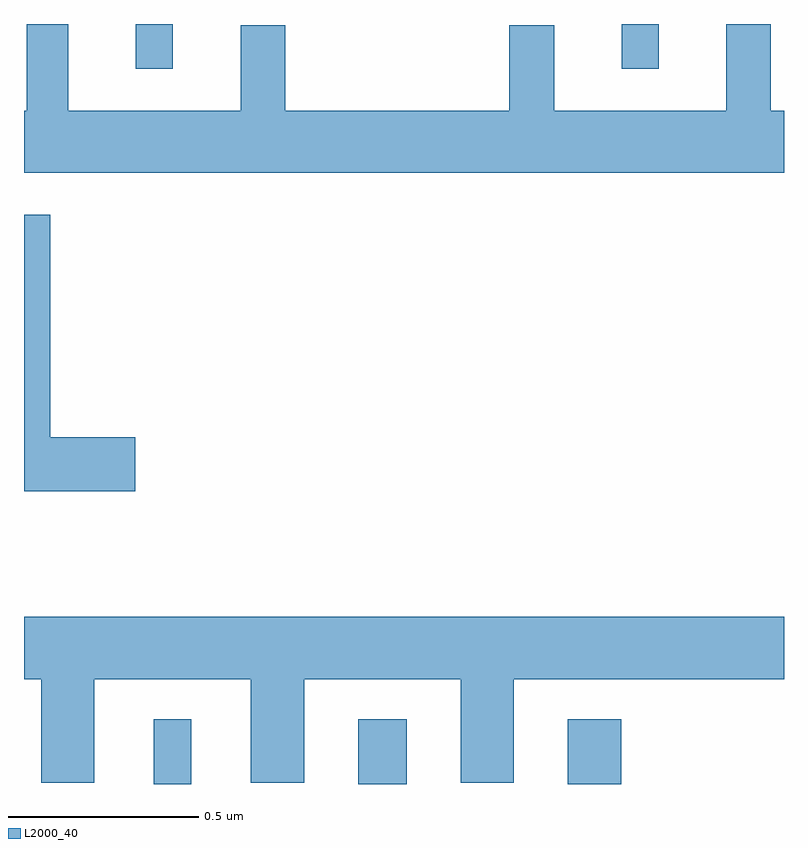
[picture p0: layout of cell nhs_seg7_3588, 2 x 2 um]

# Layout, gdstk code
import gdstk
lib = gdstk.Library(unit=1e-6, precision=1e-09)
def R(c, l, rs):  # rectangles x0, y0, x1, y1
    for r in rs: c.add(gdstk.rectangle(r[:2], r[2:], *l))
def P(c, l, *ps):  # polygons
    for p in ps: c.add(gdstk.Polygon(p, *l))
L2000_40 = (2000, 40)

nhs_seg7_3588 = lib.new_cell('nhs_seg7_3588')
R(nhs_seg7_3588, L2000_40, [(161.342,1007,161.44,1007.17), (161.879,1007,162.007,1007.17), (162.431,1007,162.572,1007.17), (161.294,1008.882,161.391,1009), (162.573,1008.882,162.67,1009)])
P(nhs_seg7_3588, L2000_40, [(163,1008.772),(162.965,1008.772),(162.965,1009),(162.848,1009),(162.848,1008.772),(162.395,1008.772),(162.395,1008.997),(162.277,1008.997),(162.277,1008.772),(161.687,1008.772),(161.687,1008.997),(161.57,1008.997),(161.57,1008.772),(161.117,1008.772),(161.117,1009),(161.007,1009),(161.007,1008.772),(161,1008.772),(161,1008.608),(163,1008.608)],
  [(161.293,1007.912),(161.069,1007.912),(161.069,1008.498),(161,1008.498),(161,1007.77),(161.293,1007.77)],
  [(161.185,1007.276),(161.597,1007.276),(161.597,1007.003),(161.737,1007.003),(161.737,1007.276),(162.149,1007.276),(162.149,1007.003),(162.289,1007.003),(162.289,1007.276),(163,1007.276),(163,1007.44),(161,1007.44),(161,1007.276),(161.045,1007.276),(161.045,1007.003),(161.185,1007.003)])

lib.write_gds('nhs_seg7_3588.gds')
